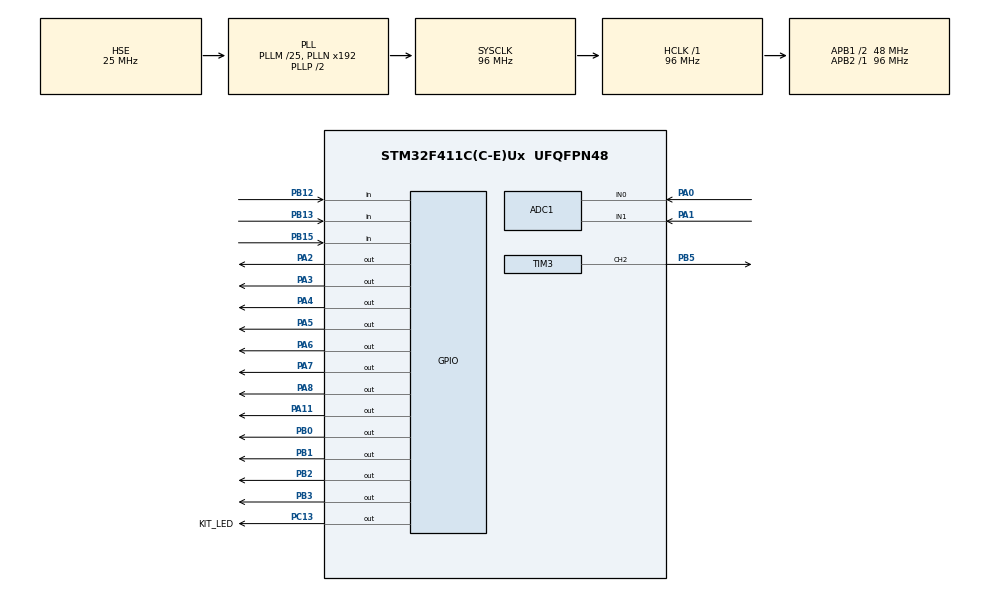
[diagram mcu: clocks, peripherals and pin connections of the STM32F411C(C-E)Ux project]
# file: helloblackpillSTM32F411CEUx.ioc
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ADC1.Channel-1\#ChannelRegularConversion=ADC_CHANNEL_1
ADC1.NbrOfConversionFlag=1
ADC1.Rank-1\#ChannelRegularConversion=1
ADC1.SamplingTime-1\#ChannelRegularConversion=ADC_SAMPLETIME_3CYCLES
ADC1.master=1
Mcu.Family=STM32F4
Mcu.Name=STM32F411C(C-E)Ux
Mcu.Package=UFQFPN48
NVIC.PriorityGroup=NVIC_PRIORITYGROUP_4
NVIC.TIM4_IRQn=true\:0\:0\:false\:false\:true\:true\:true\:true
NVIC.TIM5_IRQn=true\:0\:0\:false\:false\:true\:true\:true\:true
PA0-WKUP.Signal=ADCx_IN0
PA1.Signal=ADCx_IN1
PA11.Signal=GPIO_Output
PA13.Mode=Serial_Wire
PA13.Signal=SYS_JTMS-SWDIO
PA14.Mode=Serial_Wire
PA14.Signal=SYS_JTCK-SWCLK
PA2.Signal=GPIO_Output
PA3.Signal=GPIO_Output
PA4.Signal=GPIO_Output
PA5.Signal=GPIO_Output
PA6.Signal=GPIO_Output
PA7.Signal=GPIO_Output
PA8.Signal=GPIO_Output
PB0.Signal=GPIO_Output
PB1.Signal=GPIO_Output
PB12.Signal=GPIO_Input
PB13.Signal=GPIO_Input
PB15.Signal=GPIO_Input
PB2.Signal=GPIO_Output
PB3.Signal=GPIO_Output
PB5.Signal=S_TIM3_CH2
PC13-ANTI_TAMP.GPIO_Label=KIT_LED
PC13-ANTI_TAMP.Signal=GPIO_Output
PC14-OSC32_IN.Mode=LSE-External-Oscillator
PC14-OSC32_IN.Signal=RCC_OSC32_IN
PC15-OSC32_OUT.Mode=LSE-External-Oscillator
PC15-OSC32_OUT.Signal=RCC_OSC32_OUT
PH0\ -\ OSC_IN.Mode=HSE-External-Oscillator
PH0\ -\ OSC_IN.Signal=RCC_OSC_IN
PH1\ -\ OSC_OUT.Mode=HSE-External-Oscillator
PH1\ -\ OSC_OUT.Signal=RCC_OSC_OUT
ProjectManager.HeapSize=0x200
ProjectManager.StackSize=0x400
ProjectManager.TargetToolchain=Makefile
RCC.48MHZClocksFreq_Value=48000000
RCC.AHBFreq_Value=96000000
RCC.APB1CLKDivider=RCC_HCLK_DIV2
RCC.APB1Freq_Value=48000000
RCC.APB1TimFreq_Value=96000000
RCC.APB2Freq_Value=96000000
RCC.APB2TimFreq_Value=96000000
RCC.CortexFreq_Value=96000000
RCC.HCLKFreq_Value=96000000
RCC.HSE_VALUE=25000000
RCC.HSI_VALUE=16000000
RCC.PLLM=25
RCC.PLLSourceVirtual=RCC_PLLSOURCE_HSE
RCC.SYSCLKFreq_VALUE=96000000
RCC.SYSCLKSource=RCC_SYSCLKSOURCE_PLLCLK
RCC.VCOOutputFreq_Value=192000000
SH.ADCx_IN0.0=ADC1_IN0,IN0
SH.ADCx_IN1.0=ADC1_IN1,IN1
SH.S_TIM3_CH2.0=TIM3_CH2,PWM Generation2 CH2
TIM3.Channel-PWM\ Generation2\ CH2=TIM_CHANNEL_2
TIM3.Period=1000
TIM3.Prescaler=9600-1
TIM3.Pulse-PWM\ Generation2\ CH2=500
TIM4.Period=10000
TIM4.Prescaler=9600-1
TIM5.Period=10000
TIM5.Prescaler=9600-1
VP_TIM4_VS_ClockSourceINT.Mode=Internal
VP_TIM5_VS_ClockSourceINT.Mode=Internal
board=custom

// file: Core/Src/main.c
/* USER CODE BEGIN Header */
/**
  ******************************************************************************
  * @file           : main.c
  * @brief          : Main program body
  ******************************************************************************
  * @attention
  *
  * Copyright (c) 2022 STMicroelectronics.
  * All rights reserved.
  *
  * This software is licensed under terms that can be found in the LICENSE file
  * in the root directory of this software component.
  * If no LICENSE file comes with this software, it is provided AS-IS.
  *
  ******************************************************************************
  */

/*
	============================ CONTROLADOR DE TEMPERATURA E UMIDADE =============================

	Resumo do Funcionamento:

    Controle de Irrigação
      Ativar: Se a umidade do solo (umid) for menor ou igual a umid_min.
      Desativar: Se a umidade do solo atingir umid_min + 75% do intervalo entre umid_min e umid_max.

    Controle de Refrigeração
      Ativar: Se a temperatura (temp) for maior ou igual a temp_max.
      Desativar: Se a temperatura cair abaixo de temp_max - 25% do intervalo entre temp_min e temp_max.

    Controle de Aquecimento
      Ativar: Se a temperatura for menor ou igual a temp_min.
      Desativar: Se a temperatura subir acima de temp_min + 25% do intervalo entre temp_min e temp_max.

    Controle do LED de Alerta
      Ativar: Se qualquer uma das seguintes condições for atendida:
        A temperatura estiver próxima de temp_min ou temp_max enquanto o aquecimento/refrigeração estiver desligado.
        A umidade do solo estiver próxima de umid_min enquanto a irrigação estiver desligada.

	Funções Principais:

		incrementoDecremento: A função incrementoDecremento permite incrementar ou decrementar o valor de uma variável com base em entradas de botões, atualizando o display correspondente em cada ciclo do loop. O loop continua até que o botão de função seja pressionado novamente para sair. Em cada iteração, o display é atualizado com o valor atual da variável dividida em dígitos individuais. A variável é incrementada ou decrementada dependendo se os botões de incremento ou decremento são pressionados, e há um pequeno atraso (HAL_Delay) para evitar múltiplas leituras rápidas dos botões. Quando o botão de função é pressionado novamente, o loop é encerrado e a variável é retornada com o valor atualizado.

		atualizarDisplay/registerx: A função atualizarDisplay atualiza o valor exibido em um display específico, chamando a função register1, register2 ou register3 com base no parâmetro display. A função register1 (similar às funções register2 e register3) envia o valor correspondente ao display em forma de bits através de um processo de deslocamento e armazenamento de dados. Programação desenvolvida para uso de displays cátodo comum em conjunto com registradores de deslocamento 74HC595.

		controlarSaidas: A função controlarSaidas monitora a umidade do solo (umid) e a temperatura (temp), controlando sistemas de irrigação, aquecimento e refrigeração com base em limiares pré-definidos. Além disso, ela ativa um LED de alerta se os valores dos sensores estiverem próximos aos limites críticos.

	Conexão do CI no display de 7 seguimentos:

		O CI possuí 8 saídas comuns e uma negada sendo conectado ao display da seguinte forma:
		8 -> A | 7 -> B | 6 -> C | 5 -> D |4 -> E | 3 -> F | 2 -> G
		-	A saída 1 pode ser conectada ao ponto e a saída negada não está sendo utilizada.
		-	A interpretação da função segue que a saída 8 é LSB e a saída 1 é MSB.

	Números em decimal inseridos na função register para apresentar algarismos no display:

    0 = 0111 1110 = 126
    1 = 0000 1100 = 12
    2 = 1011 0110 = 182
    3 = 1001 1110 = 158
    4 = 1100 1100 = 204
    5 = 1101 1010 = 218
    6 = 1111 1010 = 250
    7 = 0000 1110 = 14
    8 = 1111 1110 = 254
    9 = 1101 1110 = 222

	Conversão de valores para aparecer nos displays:

		dez_temp = temp/10;
		uni_temp = temp%10;
		Através da divisão e do resto da divisão o valor da temperatura/umidade é dividido em unidade e dezena, sendo que a unidade vai para o display 3 e a dezena para o display 2.

	Ativação dos botões para controle:

		Funções:
			0 - Mostrador (configurar para voltar ao mostrador)
			1 - temp_min
			2 - temp_max
			3 - umid_min
			4 - umid_max
		Funcionamento:
      Clicar no botão de função.
      Vai aparecer 0 no primeiro botão, clique novamente e escolha o parâmetro que se deseja cadastrar.
      Botão 2 incrementa o valor e salva na variável.
      Botão 3 decrementa o valor e salva na variável.
      Em 0, ao precionar incremento ou decremento, a setagem de valores é encerrada e retorna o loop normal.

  Programação e configuração de timers, interrupções, PWM e ADC:

	  A programação é baseada em interrupções. Sempre que a função HAL_TIM_PeriodElapsedCallback é chamada (o que ocorre ao final de algum timer), uma rotina específica é executada.
    Timers
      TIM3: Responsável pelo PWM (Modulação por Largura de Pulso) com um ciclo de trabalho (duty cycle) de 50% e uma frequência de 10Hz. Sempre que os parâmetros chegam a uma margem de 10% próximo aos valores estabelecidos (limites críticos), o PWM é ativado, emitindo um sinal visual no LED de alerta.
      TIM4: Finaliza a cada 1 segundo, chamando a rotina de interrupção que realiza a leitura dos potenciômetros e a conversão AD (Analógica para Digital).
      TIM5: Finaliza a cada 1 segundo, chamando a rotina de interrupção que atualiza os valores no display. A cada 1 segundo, um valor (temperatura ou umidade) é apresentado alternadamente.
    ADC
      O ADC (Conversor Analógico-Digital) é utilizado para ler os valores dos potenciômetros que representam os sensores de temperatura e umidade.
    Loop WHILE
      O loop WHILE é responsável pelo cadastro de parâmetros. Quando o botão de função é pressionado, os timers (TIM4 e TIM5) são parados, e inicia-se o processo de configuração dos parâmetros. Ao final desse processo, os timers são reativados.
*/
/* USER CODE END Header */
#include "main.h"

/* USER CODE BEGIN Includes */
#include "math.h"
/* USER CODE END Includes */

/* USER CODE BEGIN PD */

#define data1         GPIO_PIN_2 // Entrada de Dados
#define shift1        GPIO_PIN_3 // Registrador de Saída
#define store1        GPIO_PIN_4 // Registrador de Deslocamento

#define data2         GPIO_PIN_5
#define shift2        GPIO_PIN_6
#define store2        GPIO_PIN_7

#define data3         GPIO_PIN_0 //ATENÇÃO: Porta GPIOB
#define shift3        GPIO_PIN_1
#define store3        GPIO_PIN_2

#define sensor_umid   ADC_CHANNEL_0
#define sensor_temp   ADC_CHANNEL_1

#define irrigacaoA    GPIO_PIN_8
#define aquecimentoA  GPIO_PIN_11
#define refrigeracaoB GPIO_PIN_3

#define incremento    GPIO_PIN_12
#define decremento    GPIO_PIN_13
#define funcao        GPIO_PIN_15

/* USER CODE END PD */

ADC_HandleTypeDef hadc1;
TIM_HandleTypeDef htim3;
TIM_HandleTypeDef htim4;
TIM_HandleTypeDef htim5;

/* USER CODE BEGIN PV */
uint32_t analog_temp = 0, analog_umid = 0, temp = 0, umid = 0, atualizacao = 0, menu_opcao = 0, umid_min = 60, umid_max = 83, temp_min = 10, temp_max = 26, irrigacao = 0, aquecimento = 0, refrigeracao = 0;
/* USER CODE END PV */

void SystemClock_Config(void);
static void MX_GPIO_Init(void);
static void MX_ADC1_Init(void);
static void MX_TIM4_Init(void);
static void MX_TIM3_Init(void);
static void MX_TIM5_Init(void);
/* USER CODE BEGIN PFP */
void register1(uint8_t value); // Protótipo das funções do registrador
void register2(uint8_t value);
void register3(uint8_t value);
void controlarSaidas(int umid, int temp);
void atualizarDisplay(int display, int dado);
int incrementoDecremento(int variavel);
void HAL_TIM_PeriodElapsedCallback(TIM_HandleTypeDef* htim);
static void ADC_SET_CHANNEL(uint32_t channel);
/* USER CODE END PFP */

int main(void)
{

  /* MCU Configuration--------------------------------------------------------*/

  /* Reset of all peripherals, Initializes the Flash interface and the Systick. */
  HAL_Init();

  /* Configure the system clock */
  SystemClock_Config();

  /* Initialize all configured peripherals */
  MX_GPIO_Init();
  MX_ADC1_Init();
  MX_TIM4_Init();
  MX_TIM3_Init();
  MX_TIM5_Init();
  /* USER CODE BEGIN 2 */
  HAL_GPIO_WritePin(KIT_LED_GPIO_Port, KIT_LED_Pin, 0); // led ligado
  HAL_GPIO_WritePin(GPIOB, refrigeracaoB, 1);
  HAL_GPIO_WritePin(GPIOA, aquecimentoA, 1);
  HAL_GPIO_WritePin(GPIOA, irrigacaoA, 1);
  HAL_Delay(1000);
  HAL_GPIO_WritePin(GPIOB, refrigeracaoB, 0);
  HAL_GPIO_WritePin(GPIOA, aquecimentoA, 0);
  HAL_GPIO_WritePin(GPIOA, irrigacaoA, 0);
  register1(0);
  register2(0);
  register3(0);
  HAL_TIM_Base_Start_IT(&htim4);
  HAL_TIM_Base_Start_IT(&htim5);
  /* USER CODE END 2 */

  /* Infinite loop */
  /* USER CODE BEGIN WHILE */
  while (1)
  {
    int controle = 0;
    if(!HAL_GPIO_ReadPin(GPIOB, funcao)) // Leitura do botão de função
    {
      HAL_Delay(500);
      HAL_TIM_Base_Stop_IT(&htim4);
      HAL_TIM_Base_Stop_IT(&htim5);

      do
      { // Loop de navegação do menu
        atualizarDisplay(1, menu_opcao); // Mostra a opção do menu no display 1
        switch (menu_opcao)
          {
            case 0:
              atualizarDisplay(2, 10);
              atualizarDisplay(3, 10);
              break;
            case 1:
              atualizarDisplay(2, temp_min/10);
              atualizarDisplay(3, temp_min%10);
              break;
            case 2:
              atualizarDisplay(2, temp_max/10);
              atualizarDisplay(3, temp_max%10);
              break;
            case 3:
              atualizarDisplay(2, umid_min/10);
              atualizarDisplay(3, umid_min%10);
              break;
            case 4:
              atualizarDisplay(2, umid_max/10);
              atualizarDisplay(3, umid_max%10);
              break;
          }

        if (!HAL_GPIO_ReadPin(GPIOB, funcao))
        { // Seleciona a opção do menu
          HAL_Delay(500);
          menu_opcao++;
          if (menu_opcao > 4) menu_opcao = 0;
        }

        if (!HAL_GPIO_ReadPin(GPIOB, incremento) || !HAL_GPIO_ReadPin(GPIOB, decremento))
        { // Verifica se o botão de incremento ou decremento foi pressionado
          HAL_Delay(250);
          switch (menu_opcao)
          {
            case 0:
              controle = 1;
              break;
            case 1:
              temp_min = incrementoDecremento(temp_min);
              break;
            case 2:
              temp_max = incrementoDecremento(temp_max);
              break;
            case 3:
              umid_min = incrementoDecremento(umid_min);
              break;
            case 4:
              umid_max = incrementoDecremento(umid_max);
              break;
          }
        }
      } while (controle == 0);
    }
    HAL_TIM_Base_Start_IT(&htim4);
    HAL_TIM_Base_Start_IT(&htim5);

    /* USER CODE END WHILE */

  }
}

void SystemClock_Config(void)
{
  RCC_OscInitTypeDef RCC_OscInitStruct = {0};
  RCC_ClkInitTypeDef RCC_ClkInitStruct = {0};

  /** Configure the main internal regulator output voltage
  */
  __HAL_RCC_PWR_CLK_ENABLE();
  __HAL_PWR_VOLTAGESCALING_CONFIG(PWR_REGULATOR_VOLTAGE_SCALE1);

  /** Initializes the RCC Oscillators according to the specified parameters
  * in the RCC_OscInitTypeDef structure.
  */
  RCC_OscInitStruct.OscillatorType = RCC_OSCILLATORTYPE_HSE;
  RCC_OscInitStruct.HSEState = RCC_HSE_ON;
  RCC_OscInitStruct.PLL.PLLState = RCC_PLL_ON;
  RCC_OscInitStruct.PLL.PLLSource = RCC_PLLSOURCE_HSE;
  RCC_OscInitStruct.PLL.PLLM = 25;
  RCC_OscInitStruct.PLL.PLLN = 192;
  RCC_OscInitStruct.PLL.PLLP = RCC_PLLP_DIV2;
  RCC_OscInitStruct.PLL.PLLQ = 4;
  if (HAL_RCC_OscConfig(&RCC_OscInitStruct) != HAL_OK)
  {
    Error_Handler();
  }

  /** Initializes the CPU, AHB and APB buses clocks
  */
  RCC_ClkInitStruct.ClockType = RCC_CLOCKTYPE_HCLK|RCC_CLOCKTYPE_SYSCLK
                              |RCC_CLOCKTYPE_PCLK1|RCC_CLOCKTYPE_PCLK2;
  RCC_ClkInitStruct.SYSCLKSource = RCC_SYSCLKSOURCE_PLLCLK;
  RCC_ClkInitStruct.AHBCLKDivider = RCC_SYSCLK_DIV1;
  RCC_ClkInitStruct.APB1CLKDivider = RCC_HCLK_DIV2;
  RCC_ClkInitStruct.APB2CLKDivider = RCC_HCLK_DIV1;

  if (HAL_RCC_ClockConfig(&RCC_ClkInitStruct, FLASH_LATENCY_3) != HAL_OK)
  {
    Error_Handler();
  }
}

static void MX_ADC1_Init(void)
{

  ADC_ChannelConfTypeDef sConfig = {0};

  /** Configure the global features of the ADC (Clock, Resolution, Data Alignment and number of conversion)
  */
  hadc1.Instance = ADC1;
  hadc1.Init.ClockPrescaler = ADC_CLOCK_SYNC_PCLK_DIV4;
  hadc1.Init.Resolution = ADC_RESOLUTION_12B;
  hadc1.Init.ScanConvMode = DISABLE;
  hadc1.Init.ContinuousConvMode = DISABLE;
  hadc1.Init.DiscontinuousConvMode = DISABLE;
  hadc1.Init.ExternalTrigConvEdge = ADC_EXTERNALTRIGCONVEDGE_NONE;
  hadc1.Init.ExternalTrigConv = ADC_SOFTWARE_START;
  hadc1.Init.DataAlign = ADC_DATAALIGN_RIGHT;
  hadc1.Init.NbrOfConversion = 1;
  hadc1.Init.DMAContinuousRequests = DISABLE;
  hadc1.Init.EOCSelection = ADC_EOC_SINGLE_CONV;
  if (HAL_ADC_Init(&hadc1) != HAL_OK)
  {
    Error_Handler();
  }

  /** Configure for the selected ADC regular channel its corresponding rank in the sequencer and its sample time.
  */
  sConfig.Channel = ADC_CHANNEL_1;
  sConfig.Rank = 1;
  sConfig.SamplingTime = ADC_SAMPLETIME_3CYCLES;
  if (HAL_ADC_ConfigChannel(&hadc1, &sConfig) != HAL_OK)
  {
    Error_Handler();
  }

}

static void MX_TIM3_Init(void)
{

  TIM_MasterConfigTypeDef sMasterConfig = {0};
  TIM_OC_InitTypeDef sConfigOC = {0};

  htim3.Instance = TIM3;
  htim3.Init.Prescaler = 9600-1;
  htim3.Init.CounterMode = TIM_COUNTERMODE_UP;
  htim3.Init.Period = 1000;
  htim3.Init.ClockDivision = TIM_CLOCKDIVISION_DIV1;
  htim3.Init.AutoReloadPreload = TIM_AUTORELOAD_PRELOAD_DISABLE;
  if (HAL_TIM_PWM_Init(&htim3) != HAL_OK)
  {
    Error_Handler();
  }
  sMasterConfig.MasterOutputTrigger = TIM_TRGO_RESET;
  sMasterConfig.MasterSlaveMode = TIM_MASTERSLAVEMODE_DISABLE;
  if (HAL_TIMEx_MasterConfigSynchronization(&htim3, &sMasterConfig) != HAL_OK)
  {
    Error_Handler();
  }
  sConfigOC.OCMode = TIM_OCMODE_PWM1;
  sConfigOC.Pulse = 500;
  sConfigOC.OCPolarity = TIM_OCPOLARITY_HIGH;
  sConfigOC.OCFastMode = TIM_OCFAST_DISABLE;
  if (HAL_TIM_PWM_ConfigChannel(&htim3, &sConfigOC, TIM_CHANNEL_2) != HAL_OK)
  {
    Error_Handler();
  }
  HAL_TIM_MspPostInit(&htim3);

}

static void MX_TIM4_Init(void)
{

  TIM_ClockConfigTypeDef sClockSourceConfig = {0};
  TIM_MasterConfigTypeDef sMasterConfig = {0};

  // Period e Prescaler configurados para 1Hz
  htim4.Instance = TIM4;
  htim4.Init.Prescaler = 9600-1;
  htim4.Init.CounterMode = TIM_COUNTERMODE_UP;
  htim4.Init.Period = 10000;
  htim4.Init.ClockDivision = TIM_CLOCKDIVISION_DIV1;
  htim4.Init.AutoReloadPreload = TIM_AUTORELOAD_PRELOAD_DISABLE;
  if (HAL_TIM_Base_Init(&htim4) != HAL_OK)
  {
    Error_Handler();
  }
  sClockSourceConfig.ClockSource = TIM_CLOCKSOURCE_INTERNAL;
  if (HAL_TIM_ConfigClockSource(&htim4, &sClockSourceConfig) != HAL_OK)
  {
    Error_Handler();
  }
  sMasterConfig.MasterOutputTrigger = TIM_TRGO_RESET;
  sMasterConfig.MasterSlaveMode = TIM_MASTERSLAVEMODE_DISABLE;
  if (HAL_TIMEx_MasterConfigSynchronization(&htim4, &sMasterConfig) != HAL_OK)
  {
    Error_Handler();
  }

}

static void MX_TIM5_Init(void)
{

  TIM_ClockConfigTypeDef sClockSourceConfig = {0};
  TIM_MasterConfigTypeDef sMasterConfig = {0};

  htim5.Instance = TIM5;
  htim5.Init.Prescaler = 9600-1;
  htim5.Init.CounterMode = TIM_COUNTERMODE_UP;
  htim5.Init.Period = 10000;
  htim5.Init.ClockDivision = TIM_CLOCKDIVISION_DIV1;
  htim5.Init.AutoReloadPreload = TIM_AUTORELOAD_PRELOAD_DISABLE;
  if (HAL_TIM_Base_Init(&htim5) != HAL_OK)
  {
    Error_Handler();
  }
  sClockSourceConfig.ClockSource = TIM_CLOCKSOURCE_INTERNAL;
  if (HAL_TIM_ConfigClockSource(&htim5, &sClockSourceConfig) != HAL_OK)
  {
    Error_Handler();
  }
  sMasterConfig.MasterOutputTrigger = TIM_TRGO_RESET;
  sMasterConfig.MasterSlaveMode = TIM_MASTERSLAVEMODE_DISABLE;
  if (HAL_TIMEx_MasterConfigSynchronization(&htim5, &sMasterConfig) != HAL_OK)
  {
    Error_Handler();
  }

}

static void MX_GPIO_Init(void)
{
  GPIO_InitTypeDef GPIO_InitStruct = {0};

  /* GPIO Ports Clock Enable */
  __HAL_RCC_GPIOC_CLK_ENABLE();
  __HAL_RCC_GPIOH_CLK_ENABLE();
  __HAL_RCC_GPIOA_CLK_ENABLE();
  __HAL_RCC_GPIOB_CLK_ENABLE();

  /*Configure GPIO pin Output Level */
  HAL_GPIO_WritePin(KIT_LED_GPIO_Port, KIT_LED_Pin, GPIO_PIN_RESET);

  /*Configure GPIO pin Output Level */
  HAL_GPIO_WritePin(GPIOA, GPIO_PIN_2|GPIO_PIN_3|GPIO_PIN_4|GPIO_PIN_5
                          |GPIO_PIN_6|GPIO_PIN_7|GPIO_PIN_8|GPIO_PIN_11, GPIO_PIN_RESET);

  /*Configure GPIO pin Output Level */
  HAL_GPIO_WritePin(GPIOB, GPIO_PIN_0|GPIO_PIN_1|GPIO_PIN_2|GPIO_PIN_3, GPIO_PIN_RESET);

  /*Configure GPIO pin : KIT_LED_Pin */
  GPIO_InitStruct.Pin = KIT_LED_Pin;
  GPIO_InitStruct.Mode = GPIO_MODE_OUTPUT_PP;
  GPIO_InitStruct.Pull = GPIO_NOPULL;
  GPIO_InitStruct.Speed = GPIO_SPEED_FREQ_LOW;
  HAL_GPIO_Init(KIT_LED_GPIO_Port, &GPIO_InitStruct);

  /*Configure GPIO pins : PA2 PA3 PA4 PA5
                           PA6 PA7 PA8 PA11 */
  GPIO_InitStruct.Pin = GPIO_PIN_2|GPIO_PIN_3|GPIO_PIN_4|GPIO_PIN_5
                          |GPIO_PIN_6|GPIO_PIN_7|GPIO_PIN_8|GPIO_PIN_11;
  GPIO_InitStruct.Mode = GPIO_MODE_OUTPUT_PP;
  GPIO_InitStruct.Pull = GPIO_NOPULL;
  GPIO_InitStruct.Speed = GPIO_SPEED_FREQ_LOW;
  HAL_GPIO_Init(GPIOA, &GPIO_InitStruct);

  /*Configure GPIO pins : PB0 PB1 PB2 PB3 */
  GPIO_InitStruct.Pin = GPIO_PIN_0|GPIO_PIN_1|GPIO_PIN_2|GPIO_PIN_3;
  GPIO_InitStruct.Mode = GPIO_MODE_OUTPUT_PP;
  GPIO_InitStruct.Pull = GPIO_NOPULL;
  GPIO_InitStruct.Speed = GPIO_SPEED_FREQ_LOW;
  HAL_GPIO_Init(GPIOB, &GPIO_InitStruct);

  /*Configure GPIO pins : PB12 PB13 PB15 */
  GPIO_InitStruct.Pin = GPIO_PIN_12|GPIO_PIN_13|GPIO_PIN_15;
  GPIO_InitStruct.Mode = GPIO_MODE_INPUT;
  GPIO_InitStruct.Pull = GPIO_NOPULL;
  HAL_GPIO_Init(GPIOB, &GPIO_InitStruct);

}

/* USER CODE BEGIN 4 */

void register1(uint8_t value)
{
  HAL_GPIO_WritePin(GPIOA, shift1, 1);
  for (int i = 0; i < 8; i++) // Deslocamento dos dados
  {
    HAL_GPIO_WritePin(GPIOA, store1, GPIO_PIN_RESET); // Clock Low
    HAL_GPIO_WritePin(GPIOA, data1, (value & (1 << i)) ? GPIO_PIN_SET : GPIO_PIN_RESET); // Envia o bit atual
    HAL_GPIO_WritePin(GPIOA, store1, GPIO_PIN_SET); // Clock High
  }
  HAL_GPIO_WritePin(GPIOA, store1, GPIO_PIN_RESET); // Latch Low
  HAL_GPIO_WritePin(GPIOA, store1, GPIO_PIN_SET); // Latch High
  HAL_GPIO_WritePin(GPIOA, shift1, 0);
} //Fim register1

void register2(uint8_t value)
{
  HAL_GPIO_WritePin(GPIOA, shift2, 1);
  for (int i = 0; i < 8; i++) // Deslocamento dos dados
  {
    HAL_GPIO_WritePin(GPIOA, store2, GPIO_PIN_RESET); // Clock Low
    HAL_GPIO_WritePin(GPIOA, data2, (value & (1 << i)) ? GPIO_PIN_SET : GPIO_PIN_RESET); // Envia o bit atual
    HAL_GPIO_WritePin(GPIOA, store2, GPIO_PIN_SET); // Clock High
  }
  HAL_GPIO_WritePin(GPIOA, store2, GPIO_PIN_RESET); // Latch Low
  HAL_GPIO_WritePin(GPIOA, store2, GPIO_PIN_SET); // Latch High
  HAL_GPIO_WritePin(GPIOA, shift2, 0);
} //Fim register2

void register3(uint8_t value)
{
  HAL_GPIO_WritePin(GPIOB, shift3, 1);
  for (int i = 0; i < 8; i++) // Deslocamento dos dados
  {
    HAL_GPIO_WritePin(GPIOB, store3, GPIO_PIN_RESET); // Clock Low
    HAL_GPIO_WritePin(GPIOB, data3, (value & (1 << i)) ? GPIO_PIN_SET : GPIO_PIN_RESET); // Envia o bit atual
    HAL_GPIO_WritePin(GPIOB, store3, GPIO_PIN_SET); // Clock High
  }
  HAL_GPIO_WritePin(GPIOB, store3, GPIO_PIN_RESET); // Latch Low
  HAL_GPIO_WritePin(GPIOB, store3, GPIO_PIN_SET); // Latch High
  HAL_GPIO_WritePin(GPIOB, shift3, 0);
} //Fim register3

static void ADC_SET_CHANNEL(uint32_t channel) // Função para setagem de canal (valor que ela recebe na chamada é o nome definido para a porta onde está conectado o potenciômetro que será lido)
{
  ADC_ChannelConfTypeDef sConfig = {0};
  sConfig.Channel = channel;
  sConfig.Rank = 1;
  sConfig.SamplingTime = ADC_SAMPLETIME_3CYCLES;
  if (HAL_ADC_ConfigChannel(&hadc1, &sConfig) != HAL_OK)
  {
    Error_Handler();
  }
}

void HAL_TIM_PeriodElapsedCallback(TIM_HandleTypeDef* htim){
  if (htim->Instance == TIM4)
  {
    // Inicia a conversão do primeiro potenciômetro temperatura
    ADC_SET_CHANNEL(sensor_temp);
    HAL_ADC_Start(&hadc1);
    HAL_ADC_PollForConversion(&hadc1, 100);
    analog_temp = HAL_ADC_GetValue(&hadc1);
    temp = round((float)(analog_temp*99)/4095);

    // Inicia a conversão do segundo potenciômetro umidade
    ADC_SET_CHANNEL(sensor_umid);
    HAL_ADC_Start(&hadc1);
    HAL_ADC_PollForConversion(&hadc1, 100);
    analog_umid = HAL_ADC_GetValue(&hadc1);
    umid = round((float)(analog_umid*99)/4095);

    controlarSaidas(umid, temp);
  }

  if (htim->Instance == TIM5) {
    if (atualizacao == 1)
    {
      register1(56);
      atualizarDisplay(2, umid/10);
      atualizarDisplay(3, umid%10);
      atualizacao = 0;
    } else {
      register1(240);
      atualizarDisplay(2, temp/10);
      atualizarDisplay(3, temp%10);
      atualizacao = 1;
    }
  }
}

void controlarSaidas(int umid, int temp) {
  if (umid <= umid_min)
  { // Umidade do solo menor ou igual a umidade mínima, ativa a saída de irrigação
    HAL_GPIO_WritePin(GPIOA, irrigacaoA, 1);
    irrigacao = 1;
  }
  else if (umid >= (umid_min + (umid_max - umid_min) * 3 / 4))
  { // Irrigação ativada até que se atinja a umidade mínima mais 75% do intervalo entre umidade mínima e máxima
    HAL_GPIO_WritePin(GPIOA, irrigacaoA, 0);
    irrigacao = 0;
  }

  if (temp >= temp_max)
  { // Temperatura maior ou igual que a máxima ativa a refrigeração
    HAL_GPIO_WritePin(GPIOB, refrigeracaoB, 1);
    refrigeracao = 1;
  }
  else if(temp < temp_max - (temp_max - temp_min) * 1 / 4)
  { // Refrigeração ativada até que se atinja a temperatura máxima menos 25% do intervalo entre temp. mínima e máxima
    HAL_GPIO_WritePin(GPIOB, refrigeracaoB, 0);
    refrigeracao = 0;
  }

  if (temp <= temp_min) { // Temperatura menor ou igual que a mínima ativa o aquecimento
    HAL_GPIO_WritePin(GPIOA, aquecimentoA, 1);
    aquecimento = 1;
  }
  else if(temp > temp_min + (temp_max - temp_min) * 1 / 4)
  { // Aquecimento ativo até que se atinja a temperatura mínima mais 25% do intervalo entre temp. mínima e máxima
   HAL_GPIO_WritePin(GPIOA, aquecimentoA, 0);
   aquecimento = 0;
  }

  if (((temp <= temp_max - (temp_max - temp_min) * 9 / 10 && temp > temp_min) && aquecimento == 0) ||
    ((temp >= temp_min + (temp_max - temp_min) * 9 / 10 && temp < temp_max) && refrigeracao == 0) ||
    ((umid <= umid_max - (umid_max - umid_min) * 9 / 10 && umid > umid_min) && irrigacao == 0))
  {
    HAL_TIM_PWM_Start(&htim3, TIM_CHANNEL_2); //Ativa o led de alerta para sinais dos sensores próximos aos limites
  }
  else HAL_TIM_PWM_Stop(&htim3, TIM_CHANNEL_2);
}

void atualizarDisplay(int display, int dado) {
  int valores[] = {126, 12, 182, 158, 204, 218, 250, 14, 254, 222, 0};
  switch (display) {
    case 1:
      register1(valores[dado]);
      break;
    case 2:
      register2(valores[dado]);
      break;
    case 3:
      register3(valores[dado]);
      break;
  }
}

int incrementoDecremento(int variavel) {
  int flag = 0;
  while (flag == 0)
  {
    atualizarDisplay(2, variavel / 10);
    atualizarDisplay(3, variavel % 10);

    if(!HAL_GPIO_ReadPin(GPIOB, incremento))
    {
      HAL_Delay(250);
      variavel++;
    }
    if(!HAL_GPIO_ReadPin(GPIOB, decremento))
    {
      HAL_Delay(250);
      variavel--;
    }

    if(!HAL_GPIO_ReadPin(GPIOB, funcao))
    { // Verifica se o botão de função foi pressionado novamente para sair do loop
      HAL_Delay(250);
      flag = 1;
    }
  }
  return variavel;
}
/* USER CODE END 4 */

void Error_Handler(void)
{
  __disable_irq();
  while (1)
  {
  }
}
